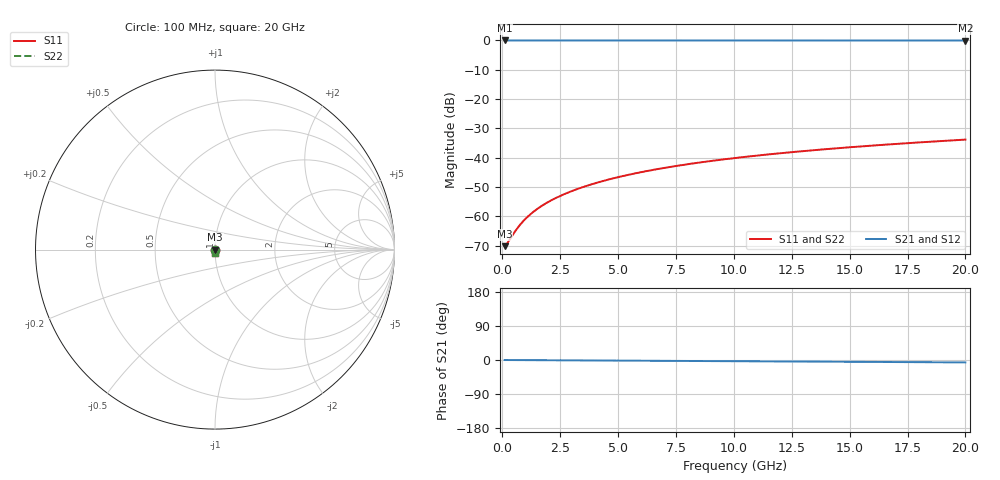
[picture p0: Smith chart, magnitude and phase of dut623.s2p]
! Touchstone file exported from HFSS 2026.1.0
!  File:  C:/ffzhzh/LocalFiles/Ansys_Project_Files/temp_train_TSV_623_1783025979_55676.aedt
!  Generated:  05:02:10 AM Jul  3, 2026
!  Design:  TSV
!  Project:  temp_train_TSV_623_1783025979_55676
! Variables:
!  h_bsmrdl = 2um
!  h_ox = 20um
!  h_rdl = 5um
!  h_sub = 66.8um
!  h_tmrdl = 5um
!  h_tsv = 66.8um
!  h_via = 3um
!  l_bsmrdl = 300um
!  l_sub = 410.78um
!  l_tmrdl = 200um
!  m_sub = 200um
!  pitch = 18.29um
!  r_tsv = 5.39um
!  s_tmrdl = 10um
!  w_bsmrdl = 18um
!  w_sub = 500um
!  w_tmrdl = 12um
!  x_tsv_center1 = 206um
!  x_tsv_center2 = 524um
!  x_tsv_center3 = 736um
!  x_tsv_center4 = 1054um
!  x_tsv_center5 = 1266um
!  x_tsv_center6 = 1584um
# GHz S MA R 50.000000
! Terminal data exported
! Port[1] = TSV1_1_T1
! Port[2] = TSV1_1_T2
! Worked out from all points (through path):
!   200 points, 100 MHz to 20 GHz, reference 50 ohm
!   highest |S21| = 0.00 dB at 100 MHz (marker M1); lowest = 0.0 dB at 20 GHz (marker M2)
!   lowest |S11| = -70.2 dB at 100 MHz (marker M3), VSWR 1.00, Z = 50 - j0.00454 ohm
!   |S11| at or under -10 dB: start of sweep to end of sweep
!   |S22| runs from -70.2 to -33.8 dB; largest |S21 - S12| = 3.1e-15
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0.1  0.0003099 -8.4  0.9997 -0.0  0.9997 -0.0  0.0003099 -8.4
! Gamma 0 0 0 0
! Port Impedance 50 0 50 0
0.2  0.0003417 -16.8  0.9997 -0.1  0.9997 -0.1  0.0003417 -16.8
0.6  0.0005884 -43.5  0.9996 -0.2  0.9996 -0.2  0.0005884 -43.5
0.8  0.000743 -51.6  0.9995 -0.3  0.9995 -0.3  0.000743 -51.6
0.9  0.0008235 -54.8  0.9995 -0.3  0.9995 -0.3  0.0008235 -54.8
1.1  0.0009887 -59.7  0.9995 -0.4  0.9995 -0.4  0.0009887 -59.7
1.4  0.001244 -64.8  0.9995 -0.5  0.9995 -0.5  0.001244 -64.8
1.6  0.001417 -67.2  0.9994 -0.5  0.9994 -0.5  0.001417 -67.2
1.8  0.001593 -69.1  0.9994 -0.6  0.9994 -0.6  0.001593 -69.1
2.3  0.002043 -72.4  0.9994 -0.8  0.9994 -0.8  0.002043 -72.4
2.9  0.0026 -75.0  0.9993 -0.9  0.9993 -0.9  0.0026 -75.0
3.5  0.003173 -76.7  0.9992 -1.1  0.9992 -1.1  0.003173 -76.7
4.2  0.003858 -78.2  0.9991 -1.4  0.9991 -1.4  0.003858 -78.2
5  0.004658 -79.5  0.999 -1.6  0.999 -1.6  0.004658 -79.5
5.9  0.005572 -80.8  0.9989 -1.9  0.9989 -1.9  0.005572 -80.8
6.8  0.006498 -81.9  0.9988 -2.2  0.9988 -2.2  0.006498 -81.9
8.3  0.008053 -83.5  0.9987 -2.7  0.9987 -2.7  0.008053 -83.5
10.1  0.009929 -85.1  0.9985 -3.2  0.9985 -3.2  0.009929 -85.1
11.7  0.0116 -86.2  0.9984 -3.7  0.9984 -3.7  0.0116 -86.2
13.4  0.01338 -87.4  0.9983 -4.3  0.9983 -4.3  0.01338 -87.4
16.7  0.01686 -89.2  0.9981 -5.3  0.9981 -5.3  0.01686 -89.2
20  0.02036 -90.7  0.9978 -6.3  0.9978 -6.3  0.02036 -90.7
